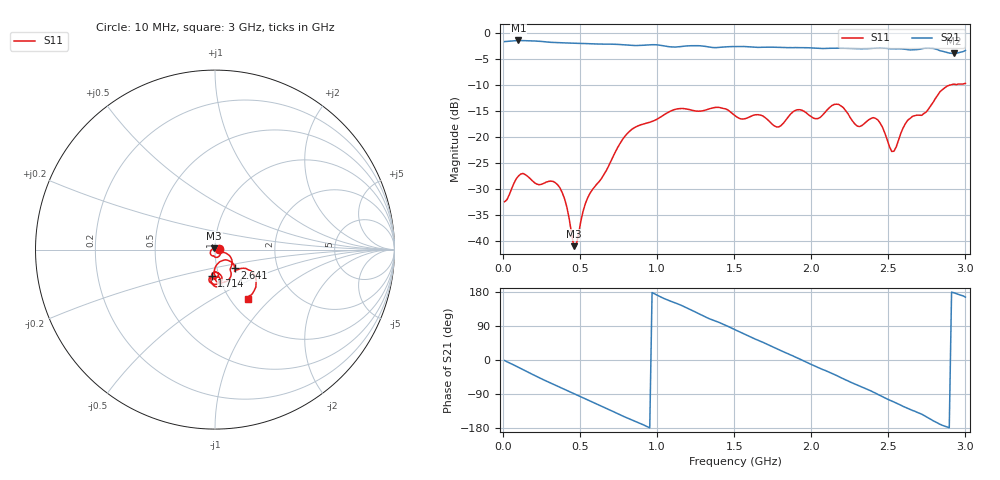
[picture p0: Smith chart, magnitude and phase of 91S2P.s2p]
!File created by NanoVNA
# Hz S RI R 50
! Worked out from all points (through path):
!   201 points, 10 MHz to 3 GHz, reference 50 ohm
!   highest |S21| = -1.41 dB at 99.7 MHz (marker M1); lowest = -3.9 dB at 2.925 GHz (marker M2)
!   group delay of S21, straight-line fit = 512 ps
!   lowest |S11| = -40.9 dB at 458.5 MHz (marker M3), VSWR 1.02, Z = 49.5 + j0.747 ohm
!   |S11| at or under -10 dB: start of sweep to 2.896 GHz
!   S12 and S22 are empty: the file has one direction only
!   S11 on the Smith chart (normalised r, x): 10 MHz: 1.05, +0.01; 1.714 GHz: 0.92, -0.28; 2.641 GHz: 1.22, -0.26; 3 GHz: 1.20, -0.74
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1e7  0.0239 0.0029  0.8293 -0.0195  0 0  0 0
9.97e7  0.026 -0.0334  0.8023 -0.2823  0 0  0 0
3.5385e8  -0.0248 -0.0246  0.2895 -0.7574  0 0  0 0
4.1365e8  -0.0211 -0.00332  0.1364 -0.7927  0 0  0 0
4.585e8  -0.00489 0.00755  0.0205 -0.8002  0 0  0 0
5.183e8  0.0185 0.00527  -0.1329 -0.7844  0 0  0 0
7.874e8  0.0895 -0.0465  -0.667 -0.3876  0 0  0 0
1.01165e9  0.0882 -0.125  -0.7527 0.15  0 0  0 0
1.28075e9  0.0197 -0.1772  -0.3766 0.6549  0 0  0 0
1.505e9  -0.0312 -0.1582  0.1299 0.7319  0 0  0 0
1.7143e9  -0.0178 -0.1476  0.5503 0.4844  0 0  0 0
1.9236e9  0.0219 -0.1828  0.7243 0.0362  0 0  0 0
2.0133e9  0.00494 -0.1527  0.6977 -0.1737  0 0  0 0
2.17775e9  0.00264 -0.2064  0.5172 -0.4971  0 0  0 0
2.29735e9  -0.00442 -0.1281  0.2873 -0.648  0 0  0 0
2.4319e9  0.00126 -0.1468  -0.0105 -0.7212  0 0  0 0
2.50665e9  0.013 -0.0807  -0.1906 -0.6831  0 0  0 0
2.53655e9  0.0398 -0.0617  -0.2518 -0.6614  0 0  0 0
2.6412e9  0.1097 -0.1046  -0.4473 -0.5248  0 0  0 0
2.7907e9  0.1855 -0.1121  -0.6725 -0.2409  0 0  0 0
2.92525e9  0.2032 -0.2523  -0.6389 0.0283  0 0  0 0
3e9  0.1824 -0.2743  -0.6615 0.1655  0 0  0 0
